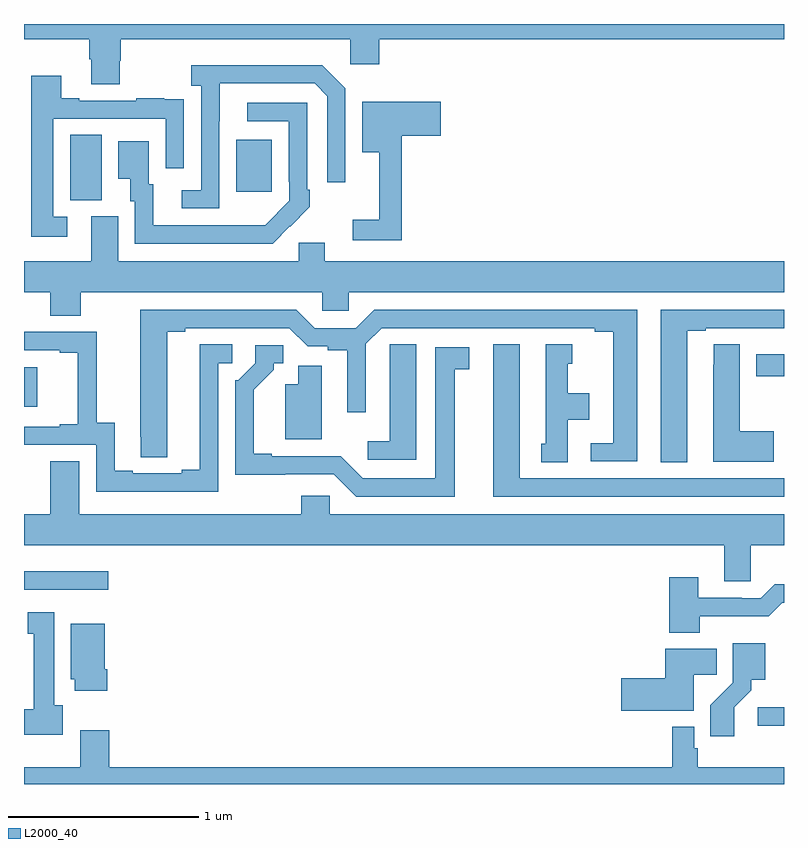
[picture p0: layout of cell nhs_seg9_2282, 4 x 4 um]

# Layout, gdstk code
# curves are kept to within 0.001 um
import gdstk
lib = gdstk.Library(unit=1e-6, precision=1e-09)
def R(c, l, rs):  # rectangles x0, y0, x1, y1
    for r in rs: c.add(gdstk.rectangle(r[:2], r[2:], *l))
def P(c, l, *ps):  # polygons
    for p in ps: c.add(gdstk.Polygon(p, *l))
L2000_40 = (2000, 40)

nhs_seg9_2282 = lib.new_cell('nhs_seg9_2282')
R(nhs_seg9_2282, L2000_40, [(244.863,1192.807,245,1192.905), (241,1193.523,241.444,1193.62), (241,1194.485,241.069,1194.694), (244.853,1194.646,245,1194.762), (241.244,1195.573,241.408,1195.916), (242.117,1195.617,242.305,1195.891)])
P(nhs_seg9_2282, L2000_40, [(241.503,1196.307),(241.508,1196.307),(241.508,1196.42),(242.718,1196.42),(242.718,1196.289),(242.87,1196.289),(242.87,1196.42),(245,1196.42),(245,1196.5),(241,1196.5),(241,1196.42),(241.343,1196.42),(241.343,1196.314),(241.355,1196.314),(241.355,1196.182),(241.503,1196.182)],
  [(242.028,1195.987),(242.029,1196.187),(242.529,1196.187),(242.595,1196.121),(242.595,1195.668),(242.691,1195.668),(242.691,1196.163),(242.57,1196.284),(241.881,1196.284),(241.881,1196.174),(241.932,1196.174),(241.932,1195.626),(241.83,1195.626),(241.83,1195.53),(242.028,1195.53)],
  [(241.228,1195.485),(241.155,1195.485),(241.155,1196.001),(241.746,1196.001),(241.746,1195.74),(241.842,1195.74),(241.842,1195.994),(241.841,1195.994),(241.841,1196.103),(241.739,1196.103),(241.739,1196.11),(241.591,1196.11),(241.591,1196.097),(241.291,1196.097),(241.291,1196.11),(241.195,1196.11),(241.195,1196.227),(241.039,1196.227),(241.039,1195.38),(241.228,1195.38)],
  [(242.987,1195.913),(243.193,1195.913),(243.193,1196.091),(242.78,1196.091),(242.78,1195.826),(242.87,1195.826),(242.87,1195.471),(242.73,1195.471),(242.73,1195.362),(242.987,1195.362)],
  [(242.399,1195.435),(242.4,1195.434),(242.505,1195.539),(242.505,1195.627),(242.49,1195.627),(242.49,1196.085),(242.175,1196.085),(242.175,1195.989),(242.394,1195.989),(242.394,1195.669),(242.397,1195.669),(242.397,1195.569),(242.269,1195.441),(241.681,1195.44),(241.681,1195.656),(241.657,1195.656),(241.657,1195.882),(241.496,1195.882),(241.496,1195.685),(241.559,1195.685),(241.559,1195.566),(241.584,1195.566),(241.584,1195.344),(242.308,1195.344)],
  [(241.299,1195.088),(242.571,1195.088),(242.571,1194.99),(242.709,1194.99),(242.709,1195.088),(245,1195.088),(245,1195.252),(242.584,1195.252),(242.584,1195.35),(242.445,1195.35),(242.445,1195.252),(241.495,1195.252),(241.495,1195.488),(241.355,1195.488),(241.355,1195.252),(241,1195.252),(241,1195.088),(241.139,1195.088),(241.139,1194.964),(241.299,1194.964)],
  [(244.228,1194.996),(242.843,1194.996),(242.747,1194.9),(242.529,1194.9),(242.433,1194.996),(241.613,1194.996),(241.614,1194.22),(241.753,1194.22),(241.753,1194.88),(241.849,1194.88),(241.849,1194.9),(242.397,1194.9),(242.493,1194.804),(242.598,1194.804),(242.598,1194.784),(242.702,1194.784),(242.702,1194.456),(242.799,1194.456),(242.799,1194.816),(242.883,1194.9),(244.004,1194.9),(244.004,1194.88),(244.1,1194.88),(244.1,1194.294),(243.984,1194.294),(243.984,1194.198),(244.228,1194.198)],
  [(244.492,1194.885),(244.588,1194.885),(244.588,1194.9),(244.864,1194.9),(244.864,1194.899),(245,1194.899),(245,1194.996),(244.352,1194.996),(244.352,1194.193),(244.492,1194.193)],
  [(242.022,1194.714),(242.095,1194.714),(242.095,1194.815),(241.925,1194.815),(241.925,1194.155),(241.829,1194.155),(241.829,1194.135),(241.573,1194.135),(241.573,1194.15),(241.477,1194.15),(241.477,1194.401),(241.383,1194.401),(241.383,1194.879),(241,1194.879),(241,1194.783),(241.187,1194.783),(241.187,1194.771),(241.283,1194.771),(241.283,1194.394),(241.187,1194.394),(241.187,1194.381),(241,1194.381),(241,1194.285),(241.38,1194.285),(241.38,1194.039),(242.022,1194.039)],
  [(243.064,1194.815),(242.925,1194.815),(242.925,1194.707),(242.924,1194.707),(242.924,1194.304),(242.808,1194.304),(242.808,1194.207),(243.064,1194.207)],
  [(244.945,1194.357),(244.768,1194.357),(244.768,1194.815),(244.629,1194.815),(244.629,1194.707),(244.628,1194.707),(244.628,1194.197),(244.945,1194.197)],
  [(243.862,1194.416),(243.976,1194.416),(243.976,1194.556),(243.862,1194.556),(243.862,1194.711),(243.886,1194.711),(243.886,1194.814),(243.746,1194.814),(243.746,1194.291),(243.722,1194.291),(243.722,1194.193),(243.862,1194.193)],
  [(245,1194.108),(243.61,1194.108),(243.61,1194.814),(243.47,1194.814),(243.47,1194.012),(245,1194.012)],
  [(243.268,1194.682),(243.343,1194.682),(243.343,1194.798),(243.164,1194.798),(243.164,1194.108),(242.784,1194.108),(242.667,1194.225),(242.305,1194.225),(242.305,1194.238),(242.209,1194.238),(242.209,1194.574),(242.314,1194.679),(242.314,1194.714),(242.364,1194.714),(242.364,1194.81),(242.217,1194.81),(242.217,1194.714),(242.127,1194.624),(242.112,1194.624),(242.112,1194.128),(242.631,1194.129),(242.748,1194.012),(243.268,1194.012)],
  [(242.566,1194.702),(242.444,1194.702),(242.444,1194.604),(242.375,1194.604),(242.375,1194.314),(242.566,1194.314)],
  [(244.824,1193.756),(245,1193.756),(245,1193.92),(242.61,1193.92),(242.61,1194.018),(242.459,1194.018),(242.459,1193.92),(241.291,1193.92),(241.291,1194.2),(241.139,1194.2),(241.139,1193.92),(241,1193.92),(241,1193.756),(244.685,1193.756),(244.685,1193.566),(244.824,1193.566)],
  [(244.557,1193.384),(244.921,1193.384),(244.992,1193.454),(245,1193.454),(245,1193.551),(244.951,1193.551),(244.878,1193.478),(244.778,1193.478),(244.778,1193.481),(244.549,1193.481),(244.549,1193.587),(244.397,1193.587),(244.397,1193.297),(244.557,1193.297)],
  [(241.204,1192.914),(241.159,1192.914),(241.159,1193.404),(241.019,1193.404),(241.019,1193.291),(241.052,1193.291),(241.052,1192.894),(241,1192.894),(241,1192.76),(241.204,1192.76)],
  [(241.439,1193.104),(241.426,1193.104),(241.426,1193.344),(241.247,1193.344),(241.247,1193.052),(241.268,1193.052),(241.268,1192.992),(241.439,1192.992)],
  [(244.738,1192.903),(244.828,1192.993),(244.828,1193.048),(244.9,1193.048),(244.9,1193.242),(244.731,1193.242),(244.731,1193.033),(244.612,1192.914),(244.612,1192.752),(244.738,1192.752)],
  [(244.525,1193.074),(244.646,1193.074),(244.646,1193.212),(244.376,1193.212),(244.376,1193.057),(244.143,1193.057),(244.143,1192.886),(244.525,1192.886)],
  [(245,1192.588),(244.547,1192.588),(244.547,1192.689),(244.527,1192.689),(244.527,1192.801),(244.411,1192.801),(244.411,1192.588),(241.448,1192.588),(241.448,1192.783),(241.295,1192.783),(241.295,1192.588),(241,1192.588),(241,1192.5),(245,1192.5)])

lib.write_gds('nhs_seg9_2282.gds')
